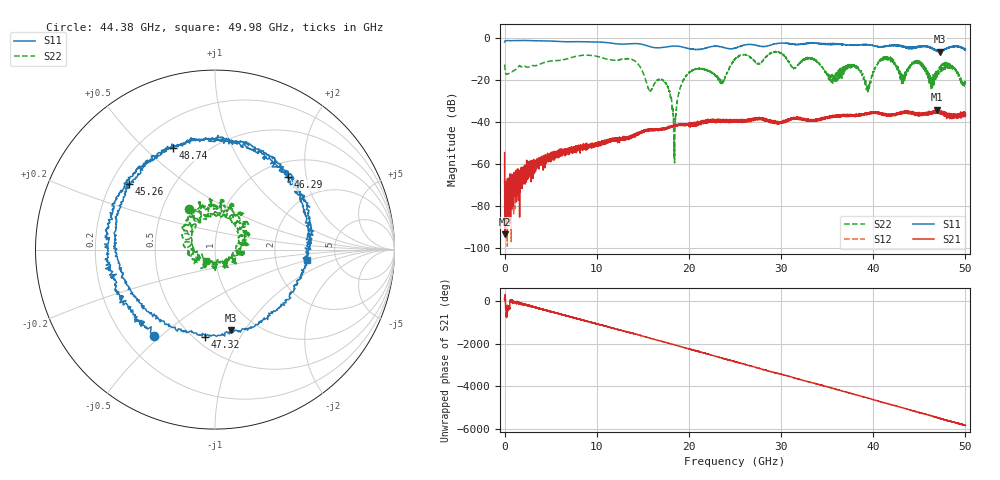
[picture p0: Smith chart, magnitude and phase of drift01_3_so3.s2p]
!Created with skrf (http://scikit-rf.org).
# Hz S RI R 50.0
!freq ReS11 ImS11 ReS21 ImS21 ReS12 ImS12 ReS22 ImS22
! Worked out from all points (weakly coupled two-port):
!   10001 points, 300 kHz to 50 GHz, reference 50 ohm
!   highest |S21| = -34.24 dB at 46.88 GHz (marker M1); lowest = -93.5 dB at 30.3 MHz (marker M2)
!   lowest |S11| = -6.8 dB at 47.2 GHz (marker M3), VSWR 2.70, Z = 38.2 - j43.6 ohm
!   |S11| at or under -10 dB: nowhere
!   |S22| runs from -59.6 to -6.6 dB; largest |S21 - S12| = 0.0041
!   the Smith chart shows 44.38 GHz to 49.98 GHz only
!   S11 on the Smith chart (normalised r, x): 44.38 GHz: 0.32, -0.48; 45.26 GHz: 0.27, +0.32; 46.29 GHz: 1.30, +1.57; 47.32 GHz: 0.57, -0.72; 48.74 GHz: 0.34, +0.62; 49.98 GHz: 3.04, -0.49
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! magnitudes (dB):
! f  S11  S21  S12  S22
! 300 kHz  -2.1  -54.7  -67.1  -12.8
! 30.3 MHz  -1.8  -93.5  -81.1  -14.3
! 260.3 MHz  -1.4  -74.0  -80.0  -17.5
! 8.335 GHz  -2.0  -52.9  -52.2  -8.5
! 16.67 GHz  -4.9  -44.0  -44.0  -19.9
! 17.74 GHz  -4.3  -43.0  -43.0  -23.6
! 18.42 GHz  -4.1  -41.7  -41.5  -49.2
! 19.9 GHz  -5.2  -41.0  -41.6  -17.2
! 23.59 GHz  -4.5  -39.5  -39.3  -20.2
! 25 GHz  -5.0  -39.7  -39.2  -10.3
! 33.34 GHz  -2.6  -39.0  -39.3  -9.9
! 39.36 GHz  -3.4  -36.3  -36.0  -22.9
! 41.67 GHz  -3.9  -37.1  -36.7  -9.8
! 44.38 GHz  -4.6  -35.9  -36.1  -11.5
! 45.26 GHz  -4.4  -35.9  -36.4  -12.6
! 46.29 GHz  -4.8  -35.6  -35.5  -22.4
! 46.88 GHz  -6.3  -34.2  -35.0  -16.4
! 47.2 GHz  -6.8  -35.6  -35.7  -14.1
! 47.32 GHz  -6.2  -35.3  -35.8  -14.6
! 48.74 GHz  -4.2  -38.1  -37.3  -14.9
! 49.98 GHz  -5.7  -36.7  -36.1  -21.6
! 50 GHz  -5.6  -36.1  -36.2  -21.7
